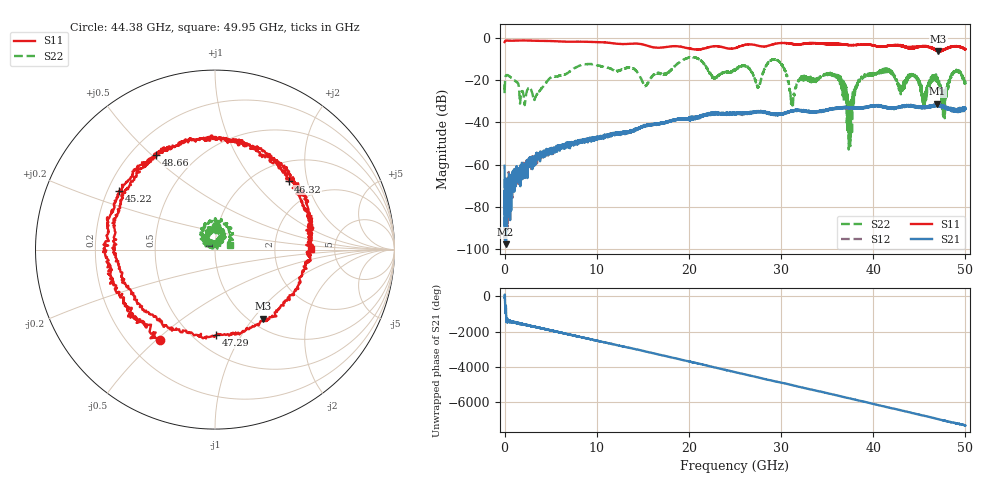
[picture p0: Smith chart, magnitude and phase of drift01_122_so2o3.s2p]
!Created with skrf (http://scikit-rf.org).
# Hz S RI R 50.0
!freq ReS11 ImS11 ReS21 ImS21 ReS12 ImS12 ReS22 ImS22
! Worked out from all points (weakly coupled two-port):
!   10001 points, 300 kHz to 50 GHz, reference 50 ohm
!   highest |S21| = -31.26 dB at 46.95 GHz (marker M1); lowest = -97.7 dB at 100.3 MHz (marker M2)
!   lowest |S11| = -6.6 dB at 47.07 GHz (marker M3), VSWR 2.77, Z = 57.2 - j56.5 ohm
!   |S11| at or under -10 dB: nowhere
!   |S22| runs from -52.9 to -9.2 dB; largest |S21 - S12| = 0.0039
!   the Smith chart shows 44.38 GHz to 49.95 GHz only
!   S11 on the Smith chart (normalised r, x): 44.38 GHz: 0.33, -0.51; 45.22 GHz: 0.25, +0.27; 46.32 GHz: 1.40, +1.54; 47.29 GHz: 0.64, -0.78; 48.66 GHz: 0.30, +0.52; 49.95 GHz: 3.28, +0.03
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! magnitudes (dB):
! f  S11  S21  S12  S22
! 300 kHz  -2.1  -60.6  -66.9  -22.1
! 100.3 MHz  -1.5  -97.7  -90.7  -18.4
! 3.295 GHz  -1.5  -58.9  -58.0  -28.7
! 8.335 GHz  -1.9  -48.3  -49.3  -12.9
! 16.67 GHz  -4.8  -40.8  -40.9  -16.6
! 25 GHz  -5.0  -35.8  -36.0  -15.4
! 29.58 GHz  -2.8  -36.6  -36.2  -10.6
! 31.24 GHz  -3.0  -34.5  -34.6  -32.1
! 33.34 GHz  -2.6  -35.1  -35.1  -19.9
! 36.09 GHz  -3.0  -33.2  -33.4  -18.8
! 37.47 GHz  -3.6  -33.1  -33.1  -33.7
! 38.65 GHz  -3.3  -33.3  -33.3  -20.0
! 41.67 GHz  -3.9  -33.2  -33.3  -16.0
! 44.38 GHz  -4.6  -32.3  -32.3  -17.5
! 45.22 GHz  -4.1  -32.9  -33.0  -24.4
! 46.32 GHz  -5.1  -32.5  -32.1  -20.2
! 46.95 GHz  -6.3  -31.3  -32.3  -19.4
! 47.07 GHz  -6.6  -31.9  -31.7  -22.1
! 47.29 GHz  -6.5  -32.2  -32.2  -23.5
! 48.66 GHz  -4.1  -34.4  -34.3  -16.5
! 49.95 GHz  -5.5  -33.8  -33.5  -21.2
! 50 GHz  -5.5  -33.6  -33.8  -21.4
